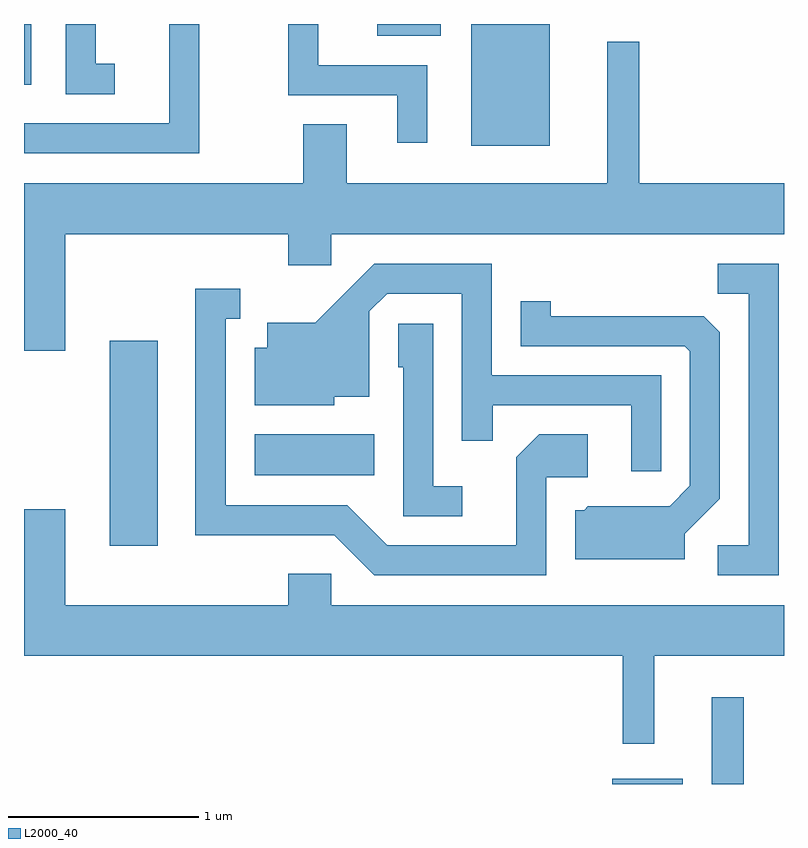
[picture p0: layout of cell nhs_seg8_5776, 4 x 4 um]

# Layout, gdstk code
import gdstk
lib = gdstk.Library(unit=1e-6, precision=1e-09)
def R(c, l, rs):  # rectangles x0, y0, x1, y1
    for r in rs: c.add(gdstk.rectangle(r[:2], r[2:], *l))
def P(c, l, *ps):  # polygons
    for p in ps: c.add(gdstk.Polygon(p, *l))
L2000_40 = (2000, 40)

nhs_seg8_5776 = lib.new_cell('nhs_seg8_5776')
R(nhs_seg8_5776, L2000_40, [(360.706,1902.342,361.079,1902.369), (361.231,1902.342,361.399,1902.798), (358.061,1903.596,358.314,1904.674), (358.826,1903.966,359.454,1904.184), (359.966,1905.701,360.379,1906.342), (357.611,1906.021,357.649,1906.342), (359.471,1906.281,359.804,1906.342)])
P(nhs_seg8_5776, L2000_40, [(359.734,1906.124),(359.159,1906.124),(359.159,1906.342),(359.001,1906.342),(359.001,1905.966),(359.576,1905.966),(359.576,1905.718),(359.734,1905.718)],
  [(358.088,1906.134),(357.989,1906.134),(357.989,1906.342),(357.831,1906.342),(357.831,1905.971),(358.088,1905.971)],
  [(358.534,1906.342),(358.376,1906.342),(358.376,1905.819),(357.611,1905.819),(357.611,1905.661),(358.534,1905.661)],
  [(357.829,1905.236),(359.001,1905.236),(359.001,1905.071),(359.229,1905.071),(359.229,1905.236),(361.611,1905.236),(361.611,1905.504),(360.849,1905.504),(360.849,1906.248),(360.681,1906.248),(360.681,1905.504),(359.309,1905.504),(359.309,1905.814),(359.081,1905.814),(359.081,1905.504),(357.611,1905.504),(357.611,1904.621),(357.829,1904.621)],
  [(360.964,1904.494),(360.074,1904.494),(360.074,1905.079),(359.454,1905.079),(359.144,1904.769),(358.891,1904.769),(358.891,1904.639),(358.826,1904.639),(358.826,1904.336),(359.244,1904.336),(359.244,1904.381),(359.429,1904.381),(359.429,1904.829),(359.522,1904.921),(359.916,1904.921),(359.916,1904.148),(360.079,1904.148),(360.079,1904.336),(360.806,1904.336),(360.806,1903.988),(360.964,1903.988)],
  [(361.584,1905.079),(361.263,1905.079),(361.263,1904.921),(361.426,1904.921),(361.426,1903.599),(361.263,1903.599),(361.263,1903.441),(361.584,1903.441)],
  [(360.359,1903.956),(360.579,1903.956),(360.579,1904.184),(360.324,1904.184),(360.201,1904.062),(360.201,1903.599),(359.522,1903.599),(359.312,1903.809),(358.674,1903.809),(358.674,1904.791),(358.748,1904.791),(358.748,1904.949),(358.511,1904.949),(358.511,1903.651),(359.244,1903.651),(359.454,1903.441),(360.359,1903.441)],
  [(361.089,1903.659),(361.274,1903.844),(361.274,1904.719),(361.189,1904.804),(360.384,1904.804),(360.384,1904.883),(360.226,1904.883),(360.226,1904.646),(361.089,1904.646),(361.116,1904.619),(361.116,1903.912),(361.009,1903.804),(360.579,1903.804),(360.559,1903.784),(360.511,1903.784),(360.511,1903.526),(361.089,1903.526)],
  [(359.918,1903.909),(359.764,1903.909),(359.764,1904.764),(359.581,1904.764),(359.581,1904.536),(359.606,1904.536),(359.606,1903.751),(359.918,1903.751)],
  [(360.929,1903.016),(361.611,1903.016),(361.611,1903.284),(359.229,1903.284),(359.229,1903.449),(359.001,1903.449),(359.001,1903.284),(357.829,1903.284),(357.829,1903.789),(357.611,1903.789),(357.611,1903.016),(360.761,1903.016),(360.761,1902.553),(360.929,1902.553)])

lib.write_gds('nhs_seg8_5776.gds')
